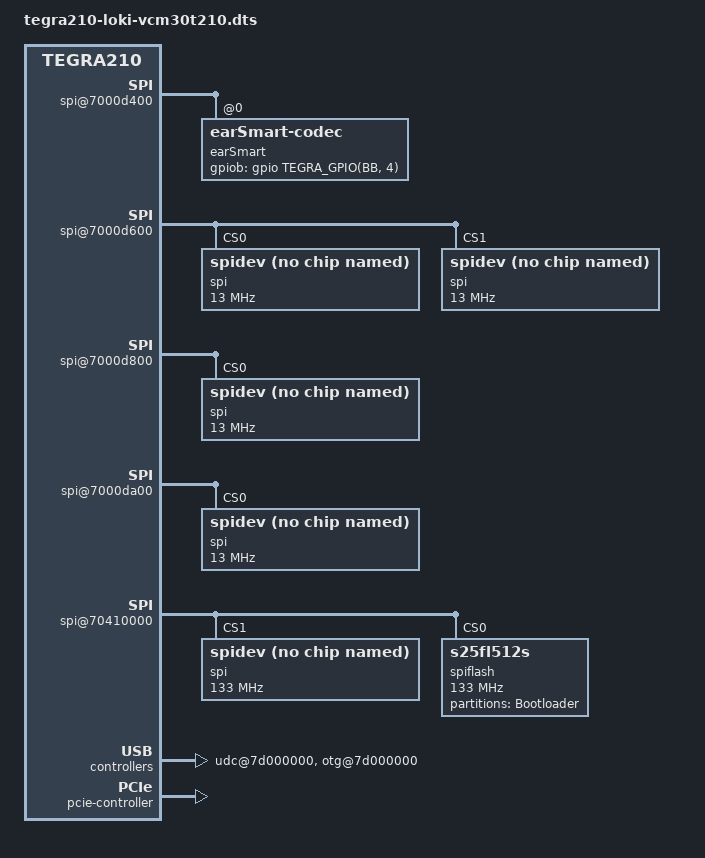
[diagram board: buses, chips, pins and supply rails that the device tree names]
/*
 * T210- DSC
 *
 * arch/arm64/boot/dts/tegra210-loki-vcm30t210.dts
 *
 * Copyright (c) 2014, NVIDIA CORPORATION.  All rights reserved.
 *
 * This program is free software; you can redistribute it and/or modify
 * it under the terms of the GNU General Public License as published by
 * the Free Software Foundation; version 2 of the License.
 *
 * This program is distributed in the hope that it will be useful, but WITHOUT
 * ANY WARRANTY; without even the implied warranty of MERCHANTABILITY or
 * FITNESS FOR A PARTICULAR PURPOSE.  See the GNU General Public License for
 * more details.
 *
 * You should have received a copy of the GNU General Public License along
 * with this program; if not, write to the Free Software Foundation, Inc.,
 * 51 Franklin Street, Fifth Floor, Boston, MA  02110-1301, USA.
 *
 */

#include "tegra210-foster-e-e2581-0930-a01-00.dts"
#include "tegra210-platforms/tegra210-loki-e-gpio-e2581-0631-a01.dtsi"

/ {
	nvidia,dtsfilename = __FILE__;
	nvidia,fastboot-usb-pid = <0x7100>;

	host1x {
		dc@54200000 {
			status = "disabled";
		};
	};

	regulators {
		usb_vbus1: regulator@14 {
			gpio = <&gpio TEGRA_GPIO(CC, 4) 1>;
		};

		usb_vbus2: regulator@15 {
			gpio = <&gpio TEGRA_GPIO(CC, 5) 1>;
		};
	};

	spi@7000d400 {
		earSmart: earSmart-codec@0 {
			adnc,gpiob-gpio = <&gpio TEGRA_GPIO(BB, 4) GPIO_ACTIVE_HIGH>;
		};
	};

	spi@7000d600 {
		status = "okay";
		spi@0 {
			compatible = "spidev";
			reg = <0>;
			spi-max-frequency = <13000000>;
		};
		spi@1 {
			compatible = "spidev";
			reg = <1>;
			spi-max-frequency = <13000000>;
		};
	};
	spi@7000d800 {
		compatible = "nvidia,tegra210-spi-slave";
		status = "okay";
		spi@0 {
			compatible = "spidev";
			reg = <0>;
			spi-max-frequency = <13000000>;
		};
	};

	spi@7000da00 {
		status = "okay";
		spi@0 {
			compatible = "spidev";
			reg = <0>;
			spi-max-frequency = <13000000>;
		};
	};

	spi@70410000 {
		status = "okay";
		spi@0 {
			compatible = "spidev";
			reg = <1>;
			spi-max-frequency = <133000000>;

			controller-data {
				nvidia,x1-len-limit = <16>;
				nvidia,x1-bus-speed = <50>; /* In Mhz */
				nvidia,x1-dymmy-cycle = <0>;
				nvidia,x4-bus-speed = <80>;
				nvidia,x4-dymmy-cycle = <8>;
			};

		};

		spiflash@1 {
			#address-cells = <1>;
			#size-cells = <1>;
			compatible = "s25fl512s";
			reg = <0>;
			spi-max-frequency = <133000000>;
			partition@0 {
				label = "Bootloader";
				reg = <0x00000000 0x4000000>;
			};
			controller-data {
				nvidia,x1-len-limit = <16>;
				nvidia,x1-bus-speed = <50>; /* In Mhz */
				nvidia,x1-dymmy-cycle = <0>;
				nvidia,x4-bus-speed = <80>;
				nvidia,x4-dymmy-cycle = <8>;
			};
		};

	};

	udc@7d000000 {
		status = "okay";
	};

	otg@7d000000 {
		status = "okay";
	};

	xudc@700d0000 {
		status = "disabled";
	};

	pinmux: pinmux@700008d4 {
		pinmux_unused_lowpower: unused_lowpower {
			qspi_cs_n_pee1 {
				nvidia,enable-input = <TEGRA_PIN_ENABLE>;
			};

			qspi_io2_pee4 {
				nvidia,tristate = <TEGRA_PIN_DISABLE>;
				nvidia,enable-input = <TEGRA_PIN_ENABLE>;
			};

			spi2_miso_pb5 {
				nvidia,function = "spi2";
				nvidia,pull = <TEGRA_PIN_PULL_NONE>;
				nvidia,tristate = <TEGRA_PIN_DISABLE>;
				nvidia,enable-input = <TEGRA_PIN_ENABLE>;
			};

			spi2_sck_pb6 {
				nvidia,function = "spi2";
				nvidia,pull = <TEGRA_PIN_PULL_NONE>;
				nvidia,tristate = <TEGRA_PIN_DISABLE>;
				nvidia,enable-input = <TEGRA_PIN_DISABLE>;
			};

			spi2_cs0_pb7 {
				nvidia,function = "spi2";
				nvidia,pull = <TEGRA_PIN_PULL_NONE>;
				nvidia,tristate = <TEGRA_PIN_DISABLE>;
				nvidia,enable-input = <TEGRA_PIN_DISABLE>;
			};

			spi2_cs1_pdd0 {
				nvidia,function = "spi2";
				nvidia,pull = <TEGRA_PIN_PULL_NONE>;
				nvidia,tristate = <TEGRA_PIN_DISABLE>;
				nvidia,enable-input = <TEGRA_PIN_DISABLE>;
			};

			spi2_mosi_pb4 {
				nvidia,function = "spi2";
				nvidia,pull = <TEGRA_PIN_PULL_NONE>;
				nvidia,tristate = <TEGRA_PIN_DISABLE>;
				nvidia,enable-input = <TEGRA_PIN_DISABLE>;
			};

			ph6 {
				nvidia,pins = "ph6";
				nvidia,function = "rsvd1";
				nvidia,pull = <TEGRA_PIN_PULL_DOWN>;
				nvidia,tristate = <TEGRA_PIN_DISABLE>;
				nvidia,enable-input = <TEGRA_PIN_DISABLE>;
			};

			pex_l0_clkreq_n_pa1 {
				nvidia,pins = "pex_l0_clkreq_n_pa1";
				nvidia,function = "pe0";
				nvidia,pull = <TEGRA_PIN_PULL_NONE>;
				nvidia,tristate = <TEGRA_PIN_DISABLE>;
				nvidia,enable-input = <TEGRA_PIN_ENABLE>;
			};

			pex_l1_clkreq_n_pa4 {
				nvidia,pins = "pex_l1_clkreq_n_pa4";
				nvidia,function = "pe1";
				nvidia,pull = <TEGRA_PIN_PULL_NONE>;
				nvidia,tristate = <TEGRA_PIN_DISABLE>;
				nvidia,enable-input = <TEGRA_PIN_ENABLE>;
			};

			pex_l1_rst_n_pa3 {
				nvidia,pins = "pex_l1_rst_n_pa3";
				nvidia,function = "pe1";
				nvidia,pull = <TEGRA_PIN_PULL_NONE>;
				nvidia,tristate = <TEGRA_PIN_DISABLE>;
				nvidia,enable-input = <TEGRA_PIN_DISABLE>;
			};

			pex_wake_n_pa2 {
				nvidia,pins = "pex_wake_n_pa2";
				nvidia,function = "pe";
				nvidia,pull = <TEGRA_PIN_PULL_NONE>;
				nvidia,tristate = <TEGRA_PIN_DISABLE>;
				nvidia,enable-input = <TEGRA_PIN_ENABLE>;
			};
		};

		pinmux_default: common {
			usb_vbus_en0_pcc4 {
				nvidia,pins = "usb_vbus_en0_pcc4";
				nvidia,function = "usb";
				nvidia,pull = <TEGRA_PIN_PULL_UP>;
				nvidia,tristate = <TEGRA_PIN_DISABLE>;
				nvidia,enable-input = <TEGRA_PIN_DISABLE>;
				nvidia,open-drain = <TEGRA_PIN_DISABLE>;
				nvidia,io-high-voltage = <TEGRA_PIN_DISABLE>;
			};

			usb_vbus_en1_pcc5 {
				nvidia,pins = "usb_vbus_en1_pcc5";
				nvidia,function = "usb";
				nvidia,pull = <TEGRA_PIN_PULL_UP>;
				nvidia,tristate = <TEGRA_PIN_DISABLE>;
				nvidia,enable-input = <TEGRA_PIN_DISABLE>;
				nvidia,open-drain = <TEGRA_PIN_DISABLE>;
				nvidia,io-high-voltage = <TEGRA_PIN_DISABLE>;
			};

			pz0 {
				nvidia,pins = "pz0";
				nvidia,function = "rsvd2";
				nvidia,pull = <TEGRA_PIN_PULL_DOWN>;
				nvidia,tristate = <TEGRA_PIN_DISABLE>;
				nvidia,enable-input = <TEGRA_PIN_DISABLE>;
			};

			nfc_en_pi0 {
				nvidia,pins = "nfc_en_pi0";
				nvidia,function = "rsvd1";
				nvidia,pull = <TEGRA_PIN_PULL_DOWN>;
				nvidia,tristate = <TEGRA_PIN_DISABLE>;
				nvidia,enable-input = <TEGRA_PIN_DISABLE>;
			};

			pex_l0_rst_n_pa0 {
				nvidia,pins = "pex_l0_rst_n_pa0";
				nvidia,function = "pe0";
				nvidia,pull = <TEGRA_PIN_PULL_NONE>;
				nvidia,tristate = <TEGRA_PIN_DISABLE>;
				nvidia,enable-input = <TEGRA_PIN_DISABLE>;
			};
		};
	};

	sdhci@700b0400 {
		cd-gpios = <&gpio TEGRA_GPIO_PZ2 0>;
	};

	pcie-controller {
		nvidia,wake-gpio = <&gpio TEGRA_GPIO(A, 2) 0>;
		nvidia,lane-map = <0x14>;
		dvdd-pex-pll-supply = <&max77620_ldo1>;
		l0-dvddio-pex-supply = <&max77620_ldo1>;
		l1-dvddio-pex-supply = <&max77620_ldo1>;
		l2-dvddio-pex-supply = <&max77620_ldo1>;
		l3-dvddio-pex-supply = <&max77620_ldo1>;
		l4-dvddio-pex-supply = <&max77620_ldo1>;
		l5-dvddio-pex-supply = <&max77620_ldo1>;
		l6-dvddio-pex-supply = <&max77620_ldo1>;
		hvdd-pex-pll-e-supply = <&max77620_sd3>;
		l0-hvddio-pex-supply = <&max77620_sd3>;
		l1-hvddio-pex-supply = <&max77620_sd3>;
		l2-hvddio-pex-supply = <&max77620_sd3>;
		l3-hvddio-pex-supply = <&max77620_sd3>;
		l4-hvddio-pex-supply = <&max77620_sd3>;
		l5-hvddio-pex-supply = <&max77620_sd3>;
		l6-hvddio-pex-supply = <&max77620_sd3>;
		vddio-pex-ctl-supply = <&max77620_sd3>;
		status = "okay";
		pci@1,0 {
			status = "okay";
		};

		pci@2,0 {
			status = "okay";
		};
	};

	/* Disable XUSB3 to make PCIe both ports work */
        xusb_pad_ctl: padctl@0 {
                nvidia,lane_owner = <0xFF56>; /* Use 0xF to disable lane assign */
        };
};
